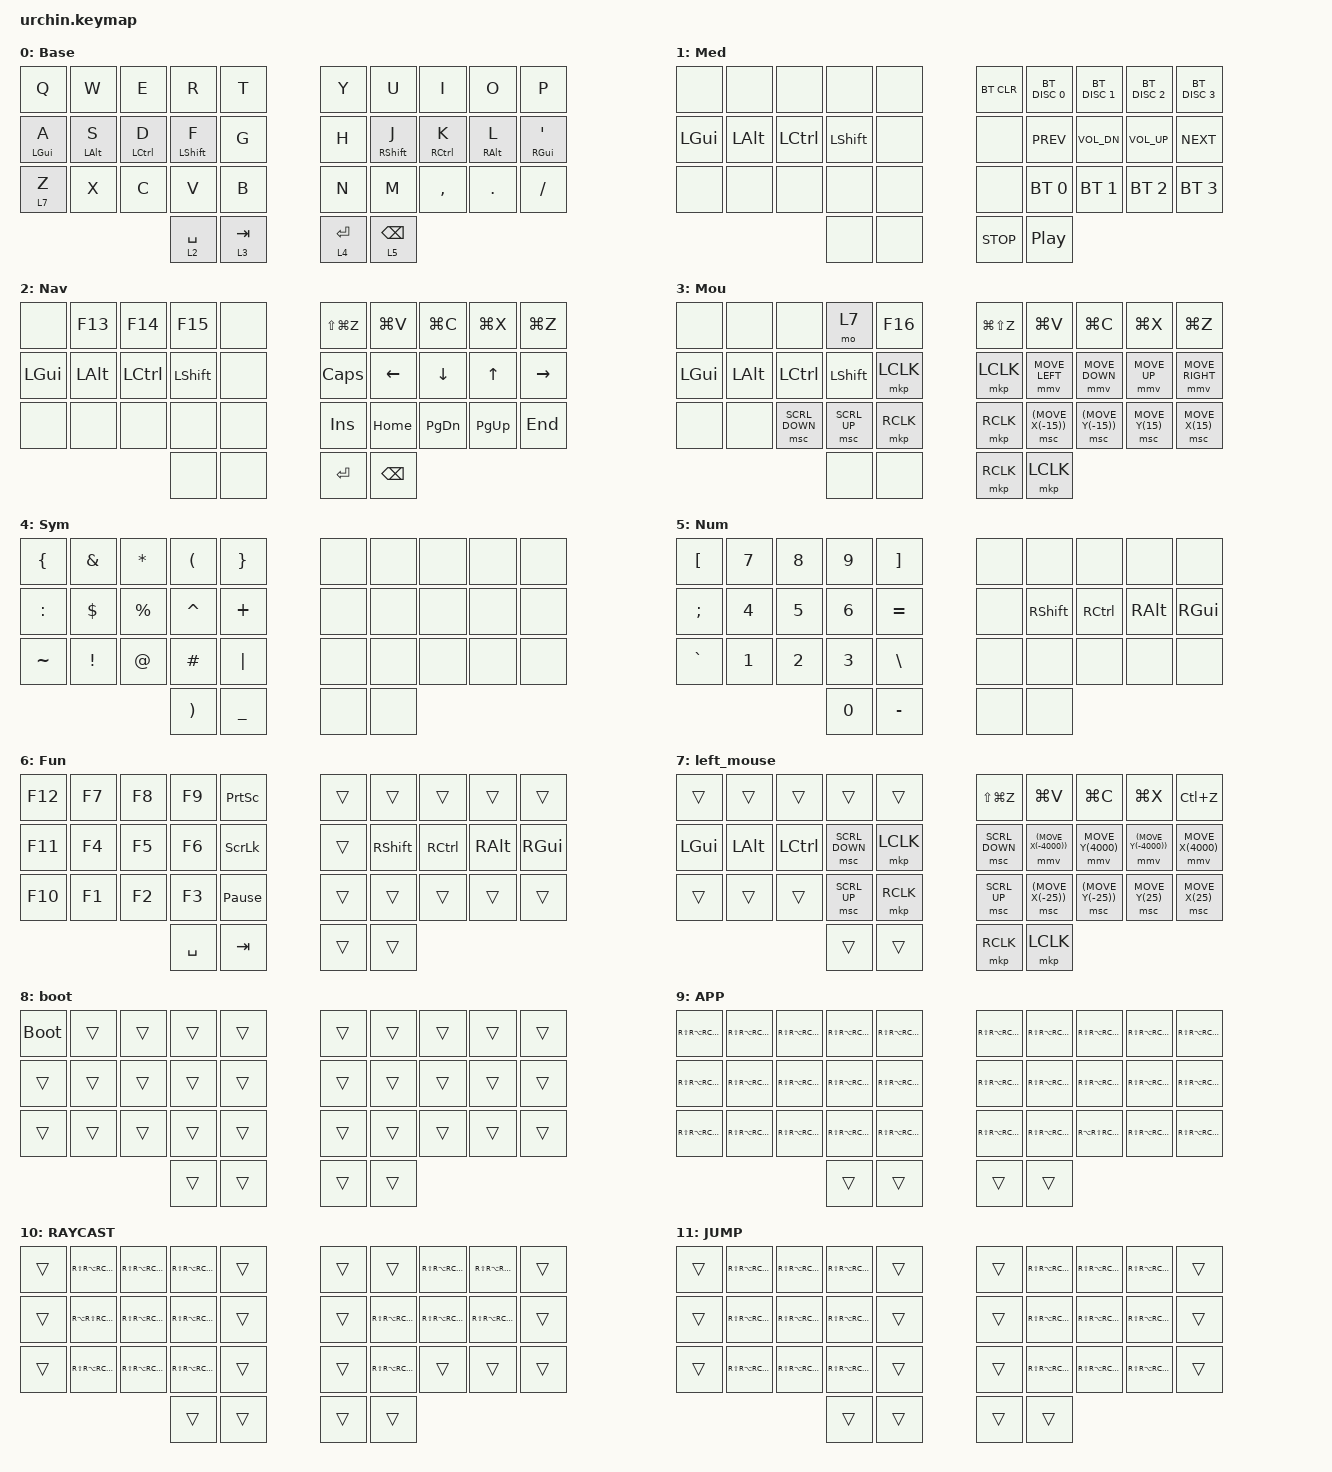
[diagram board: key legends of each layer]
/*
 * Copyright (c) 2020 duckyb
 *
 * SPDX-License-Identifier: MIT
 */

#include "pointing_config.h"
#include <behaviors.dtsi>
#include <dt-bindings/zmk/bt.h>
#include <dt-bindings/zmk/keys.h>
#include <dt-bindings/zmk/pointing.h>
#include "keymap_italian.h"

// Layer definitions

#define BASE 0
#define SYM 1
#define EXT 2
#define FNC 3
#define SYM2 4
#define ACCENT 5
#define SETTINGS 6
#define APP 9
#define RAYCAST 10
#define JUMP 11

// -----------------

&mt {
    quick-tap-ms = <100>;
    global-quick-tap;
    flavor = "tap-preferred";
    tapping-term-ms = <170>;
};

&sk {
    // don't release mods on other mods presses

    ignore-modifiers;
};

/ {
    behaviors {
        // Enables holding the first mod-tap key
        // by performing a tap-release-hold sequence.
        // To use it: "&qt KEYCODE1 KEYCODE2"

        qt: quick_tap {
            compatible = "zmk,behavior-hold-tap";
            label = "QUICK_TAP";
            #binding-cells = <2>;
            flavor = "hold-preferred";
            tapping-term-ms = <200>;
            quick-tap-ms = <200>;
            bindings = <&kp>, <&kp>;
        };
    };

    macros {
        // sometimes my device thinks a modifier is being held down
        // pressing all modifiers fixes it.

        unstick: unstick {
            label = "ZM_unstick";
            compatible = "zmk,behavior-macro";
            #binding-cells = <0>;
            bindings = <&kp LSHIFT &kp RSHIFT &kp LCTRL &kp RCTRL &kp LALT &kp RALT &kp LGUI &kp RGUI>;
        };
    };

    combos {
        compatible = "zmk,combos";

        combo_app {
            timeout-ms = <200>;
            key-positions = <30 31>;
            layers = <BASE>;
            bindings = <&sl APP>;
        };

        combo_raycast {
            timeout-ms = <200>;
            key-positions = <32 33>;
            layers = <BASE>;
            bindings = <&sl RAYCAST>;
        };

        combo_launcher {
            timeout-ms = <30>;
            key-positions = <0 1>;
            layers = <BASE>;
            bindings = <&kp LG(LS(SPACE))>;
        };

        combo_jump {
            timeout-ms = <30>;
            key-positions = <8 9>;
            layers = <BASE>;
            bindings = <&sl JUMP>;
        };

        combo_esc_media {
            timeout-ms = <30>;
            key-positions = <23 24>;
            layers = <BASE>;
            bindings = <&lt 1 ESC>;
        };

        combo_delete_func {
            timeout-ms = <30>;
            key-positions = <25 26>;
            layers = <BASE>;
            bindings = <&lt 6 DELETE>;
        };
    };

    keymap {
        compatible = "zmk,keymap";

        // Base alpha layer

        default_layer {
            label = "Base";
            bindings = <
&kp Q           &kp W           &kp E               &kp R             &kp T      &kp Y        &kp U              &kp I                &kp O            &kp P
&mt LEFT_GUI A  &mt LEFT_ALT S  &mt LEFT_CONTROL D  &mt LEFT_SHIFT F  &kp G      &kp H        &mt RIGHT_SHIFT J  &mt RIGHT_CONTROL K  &mt RIGHT_ALT L  &mt RIGHT_GUI SQT
&lt 7 Z         &kp X           &kp C               &kp V             &kp B      &kp N        &kp M              &kp COMMA            &kp DOT          &kp SLASH
                                                    &lt 2 SPACE       &lt 3 TAB  &lt 4 ENTER  &lt 5 BACKSPACE
            >;
        };

        // Numbers and high frequency symbols

        media_layer {
            label = "Med";
            bindings = <
&none         &none         &none             &none           &none  &bt BT_CLR  &bt BT_DISC 0  &bt BT_DISC 1  &bt BT_DISC 2  &bt BT_DISC 3
&kp LEFT_GUI  &kp LEFT_ALT  &kp LEFT_CONTROL  &kp LEFT_SHIFT  &none  &none       &kp C_PREV     &kp C_VOL_DN   &kp C_VOL_UP   &kp C_NEXT
&none         &none         &none             &none           &none  &none       &bt BT_SEL 0   &bt BT_SEL 1   &bt BT_SEL 2   &bt BT_SEL 3
                                              &none           &none  &kp C_STOP  &kp C_PP
            >;
        };

        // Main modifiers and arrow keys

        nav_layer {
            label = "Nav";
            bindings = <
&none         &kp F13       &kp F14           &kp F15         &none  &kp LS(LG(Z))  &kp LG(V)      &kp LG(C)  &kp LG(X)     &kp LG(Z)
&kp LEFT_GUI  &kp LEFT_ALT  &kp LEFT_CONTROL  &kp LEFT_SHIFT  &none  &kp CAPSLOCK   &kp LEFT       &kp DOWN   &kp UP_ARROW  &kp RIGHT_ARROW
&none         &none         &none             &none           &none  &kp INS        &kp HOME       &kp PG_DN  &kp PG_UP     &kp END
                                              &none           &none  &kp ENTER      &kp BACKSPACE
            >;
        };

        // Function keys with modifiers

        mouse_layer {
            label = "Mou";
            bindings = <
&none     &none         &none           &mo 7           &kp F16    &kp LG(LS(Z))  &kp LG(V)           &kp LG(C)           &kp LG(X)        &kp LG(Z)
&kp LGUI  &kp LEFT_ALT  &kp LCTRL       &kp LEFT_SHIFT  &mkp LCLK  &mkp LCLK      &mmv MOVE_LEFT      &mmv MOVE_DOWN      &mmv MOVE_UP     &mmv MOVE_RIGHT
&none     &none         &msc SCRL_DOWN  &msc SCRL_UP    &mkp RCLK  &mkp RCLK      &msc (MOVE_X(-15))  &msc (MOVE_Y(-15))  &msc MOVE_Y(15)  &msc MOVE_X(15)
                                        &none           &none      &mkp RCLK      &mkp LCLK
            >;
        };

        // Low frequency symbols.

        sym_layer {
            label = "Sym";
            bindings = <
&kp LEFT_BRACE  &kp AMPERSAND    &kp ASTERISK  &kp LEFT_PARENTHESIS   &kp RIGHT_BRACE  &none  &none  &none  &none  &none
&kp COLON       &kp DOLLAR       &kp PERCENT   &kp CARET              &kp PLUS         &none  &none  &none  &none  &none
&kp TILDE       &kp EXCLAMATION  &kp AT_SIGN   &kp HASH               &kp PIPE         &none  &none  &none  &none  &none
                                               &kp RIGHT_PARENTHESIS  &kp UNDERSCORE   &none  &none
            >;
        };

        // Used to type regional accents.

        number_layer {
            label = "Num";
            bindings = <
&kp LEFT_BRACKET  &kp N7        &kp N8        &kp N9        &kp RIGHT_BRACKET  &none  &none            &none              &none          &none
&kp SEMICOLON     &kp NUMBER_4  &kp N5        &kp NUMBER_6  &kp EQUAL          &none  &kp RIGHT_SHIFT  &kp RIGHT_CONTROL  &kp RIGHT_ALT  &kp RIGHT_GUI
&kp GRAVE         &kp NUMBER_1  &kp NUMBER_2  &kp NUMBER_3  &kp BACKSLASH      &none  &none            &none              &none          &none
                                              &kp N0        &kp MINUS          &none  &none
            >;
        };

        // Used to change the keyboard's settings.

        func_layer {
            label = "Fun";
            bindings = <
&kp F12  &kp F7  &kp F8  &kp F9     &kp PSCRN        &trans  &trans           &trans             &trans         &trans
&kp F11  &kp F4  &kp F5  &kp F6     &kp SLCK         &trans  &kp RIGHT_SHIFT  &kp RIGHT_CONTROL  &kp RIGHT_ALT  &kp RIGHT_GUI
&kp F10  &kp F1  &kp F2  &kp F3     &kp PAUSE_BREAK  &trans  &trans           &trans             &trans         &trans
                         &kp SPACE  &kp TAB          &trans  &trans
            >;
        };

        left_mouse {
            bindings = <
&trans    &trans        &trans            &trans          &trans     &kp LS(LG(Z))   &kp LG(V)             &kp LG(C)           &kp LG(X)             &kp LC(Z)
&kp LGUI  &kp LEFT_ALT  &kp LEFT_CONTROL  &msc SCRL_DOWN  &mkp LCLK  &msc SCRL_DOWN  &mmv (MOVE_X(-4000))  &mmv MOVE_Y(4000)   &mmv (MOVE_Y(-4000))  &mmv MOVE_X(4000)
&trans    &trans        &trans            &msc SCRL_UP    &mkp RCLK  &msc SCRL_UP    &msc (MOVE_X(-25))    &msc (MOVE_Y(-25))  &msc MOVE_Y(25)       &msc MOVE_X(25)
                                          &trans          &trans     &mkp RCLK       &mkp LCLK
            >;
        };

        boot {
            bindings = <
&bootloader  &trans  &trans  &trans  &trans  &trans  &trans  &trans  &trans  &trans
&trans       &trans  &trans  &trans  &trans  &trans  &trans  &trans  &trans  &trans
&trans       &trans  &trans  &trans  &trans  &trans  &trans  &trans  &trans  &trans
                             &trans  &trans  &trans  &trans
            >;
        };

        app_layer {
            label = "APP";
            bindings = <
&kp RS(RA(RC(RG(Q))))  &kp RS(RA(RC(RG(W))))  &kp RS(RA(RC(RG(E))))  &kp RS(RA(RC(RG(R))))  &kp RS(RA(RC(RG(T))))  &kp RS(RA(RC(RG(Y))))  &kp RS(RA(RC(RG(U))))  &kp RS(RA(RC(RG(I))))      &kp RS(RA(RC(RG(O))))       &kp RS(RA(RC(RG(P))))
&kp RS(RA(RC(RG(A))))  &kp RS(RA(RC(RG(S))))  &kp RS(RA(RC(RG(D))))  &kp RS(RA(RC(RG(F))))  &kp RS(RA(RC(RG(G))))  &kp RS(RA(RC(RG(H))))  &kp RS(RA(RC(RG(J))))  &kp RS(RA(RC(RG(K))))      &kp RS(RA(RC(RG(L))))       &kp RS(RA(RC(RG(SQT))))
&kp RS(RA(RC(RG(Z))))  &kp RS(RA(RC(RG(X))))  &kp RS(RA(RC(RG(C))))  &kp RS(RA(RC(RG(V))))  &kp RS(RA(RC(RG(B))))  &kp RS(RA(RC(RG(N))))  &kp RS(RA(RC(RG(M))))  &kp RA(RS(RC(RG(COMMA))))  &kp RS(RA(RC(RG(PERIOD))))  &kp RS(RA(RC(RG(SLASH))))
                                                                     &trans                 &trans                 &trans                 &trans
            >;
        };

        raycast_layer {
            label = "RAYCAST";
            bindings = <
&trans  &kp RS(RA(RC(RG(NUMBER_2))))  &kp RS(RA(RC(RG(NUMBER_3))))   &kp RS(RA(RC(RG(NUMBER_4))))  &trans  &trans  &trans                  &kp RS(RA(RC(RG(NUMBER_6))))  &kp RS(RA(RG(RC(N7))))  &trans
&trans  &kp RA(RS(RC(RG(F20))))       &kp RS(RA(RC(RG(SEMICOLON))))  &kp RS(RA(RC(RG(NUMBER_1))))  &trans  &trans  &kp RS(RA(RC(RG(N8))))  &kp RS(RA(RC(RG(N9))))        &kp RS(RA(RC(RG(N0))))  &trans
&trans  &kp RS(RA(RC(RG(F17))))       &kp RS(RA(RC(RG(F18))))        &kp RS(RA(RC(RG(F19))))       &trans  &trans  &kp RS(RA(RC(RG(N5))))  &trans                        &trans                  &trans
                                                                     &trans                        &trans  &trans  &trans
            >;
        };

        jump_layer {
            label = "JUMP";
            bindings = <
&trans  &kp RS(RA(RC(RG(F7))))  &kp RS(RA(RC(RG(F8))))  &kp RS(RA(RC(RG(F9))))  &trans  &trans  &kp RS(RA(RC(RG(F7))))  &kp RS(RA(RC(RG(LS(F8)))))  &kp RS(RA(RC(RG(F9))))  &trans
&trans  &kp RS(RA(RC(RG(F4))))  &kp RS(RA(RC(RG(F5))))  &kp RS(RA(RC(RG(F6))))  &trans  &trans  &kp RS(RA(RC(RG(F4))))  &kp RS(RA(RC(RG(F5))))      &kp RS(RA(RC(RG(F6))))  &trans
&trans  &kp RS(RA(RC(RG(F1))))  &kp RS(RA(RC(RG(F2))))  &kp RS(RA(RC(RG(F3))))  &trans  &trans  &kp RS(RA(RC(RG(F1))))  &kp RS(RA(RC(RG(F2))))      &kp RS(RA(RC(RG(F3))))  &trans
                                                        &trans                  &trans  &trans  &trans
            >;
        };
    };
};
